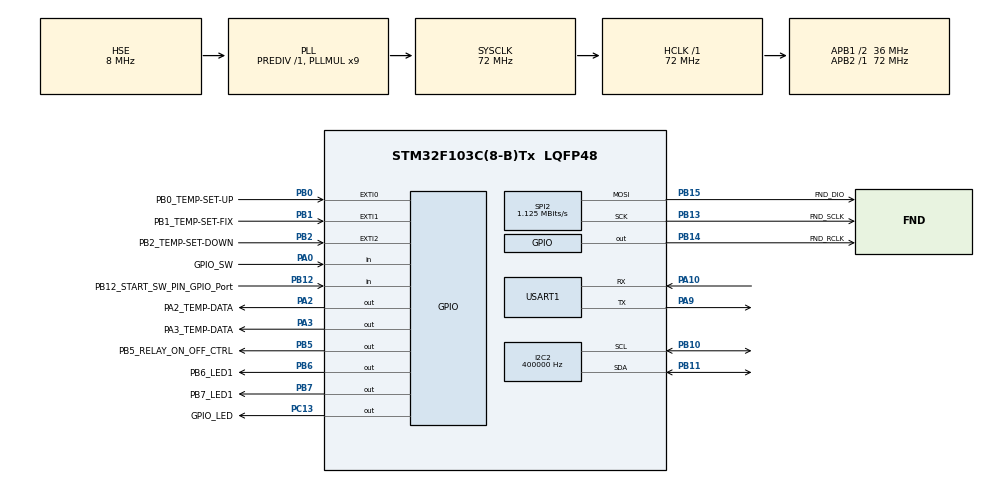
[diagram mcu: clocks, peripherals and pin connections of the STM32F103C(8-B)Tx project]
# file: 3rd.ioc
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I2C2.ClockSpeed=400000
I2C2.GeneralCallMode=I2C_GENERALCALL_DISABLE
I2C2.I2C_Mode=I2C_Fast
I2C2.OwnAddress=0
Mcu.Family=STM32F1
Mcu.Name=STM32F103C(8-B)Tx
Mcu.Package=LQFP48
NVIC.EXTI0_IRQn=true\:9\:0\:true\:false\:true\:true\:true\:true
NVIC.EXTI1_IRQn=true\:9\:0\:true\:false\:true\:true\:true\:true
NVIC.EXTI2_IRQn=true\:9\:0\:true\:false\:true\:true\:true\:true
NVIC.PriorityGroup=NVIC_PRIORITYGROUP_4
NVIC.TIM2_IRQn=true\:0\:0\:false\:false\:true\:true\:true\:true
NVIC.TIM3_IRQn=true\:10\:0\:true\:false\:true\:true\:true\:true
PA0-WKUP.GPIO_Label=GPIO_SW
PA0-WKUP.GPIO_PuPd=GPIO_PULLUP
PA0-WKUP.Signal=GPIO_Input
PA10.GPIO_Mode=GPIO_MODE_INPUT
PA10.Mode=Asynchronous
PA10.Signal=USART1_RX
PA13.Mode=Serial_Wire
PA13.Signal=SYS_JTMS-SWDIO
PA14.Mode=Serial_Wire
PA14.Signal=SYS_JTCK-SWCLK
PA2.GPIO_Label=PA2_TEMP-DATA
PA2.GPIO_ModeDefaultOutputPP=GPIO_MODE_OUTPUT_PP
PA2.GPIO_PuPd=GPIO_PULLUP
PA2.GPIO_Speed=GPIO_SPEED_FREQ_HIGH
PA2.PinState=GPIO_PIN_SET
PA2.Signal=GPIO_Output
PA3.GPIO_Label=PA3_TEMP-DATA
PA3.GPIO_ModeDefaultOutputPP=GPIO_MODE_OUTPUT_PP
PA3.GPIO_PuPd=GPIO_PULLUP
PA3.GPIO_Speed=GPIO_SPEED_FREQ_HIGH
PA3.PinState=GPIO_PIN_SET
PA3.Signal=GPIO_Output
PA9.Mode=Asynchronous
PA9.Signal=USART1_TX
PB0.GPIO_Label=PB0_TEMP-SET-UP
PB0.GPIO_ModeDefaultEXTI=GPIO_MODE_IT_FALLING
PB0.GPIO_PuPd=GPIO_PULLUP
PB0.Signal=GPXTI0
PB1.GPIO_Label=PB1_TEMP-SET-FIX
PB1.GPIO_ModeDefaultEXTI=GPIO_MODE_IT_FALLING
PB1.GPIO_PuPd=GPIO_PULLUP
PB1.Signal=GPXTI1
PB10.Mode=I2C
PB10.Signal=I2C2_SCL
PB11.Mode=I2C
PB11.Signal=I2C2_SDA
PB12.GPIO_Label=PB12_START_SW_PIN_GPIO_Port
PB12.GPIO_PuPd=GPIO_PULLUP
PB12.Signal=GPIO_Input
PB13.GPIO_Label=FND_SCLK
PB13.Mode=TX_Only_Simplex_Unidirect_Master
PB13.Signal=SPI2_SCK
PB14.GPIO_Label=FND_RCLK
PB14.GPIO_PuPd=GPIO_PULLUP
PB14.GPIO_Speed=GPIO_SPEED_FREQ_HIGH
PB14.PinState=GPIO_PIN_SET
PB14.Signal=GPIO_Output
PB15.GPIO_Label=FND_DIO
PB15.Mode=TX_Only_Simplex_Unidirect_Master
PB15.Signal=SPI2_MOSI
PB2.GPIO_Label=PB2_TEMP-SET-DOWN
PB2.GPIO_ModeDefaultEXTI=GPIO_MODE_IT_FALLING
PB2.GPIO_PuPd=GPIO_PULLUP
PB2.Signal=GPXTI2
PB5.GPIO_Label=PB5_RELAY_ON_OFF_CTRL
PB5.GPIO_ModeDefaultOutputPP=GPIO_MODE_OUTPUT_PP
PB5.GPIO_PuPd=GPIO_PULLDOWN
PB5.GPIO_Speed=GPIO_SPEED_FREQ_HIGH
PB5.PinState=GPIO_PIN_RESET
PB5.Signal=GPIO_Output
PB6.GPIO_Label=PB6_LED1
PB6.GPIO_PuPd=GPIO_PULLUP
PB6.GPIO_Speed=GPIO_SPEED_FREQ_HIGH
PB6.PinState=GPIO_PIN_SET
PB6.Signal=GPIO_Output
PB7.GPIO_Label=PB7_LED1
PB7.GPIO_ModeDefaultOutputPP=GPIO_MODE_OUTPUT_PP
PB7.GPIO_PuPd=GPIO_PULLUP
PB7.GPIO_Speed=GPIO_SPEED_FREQ_HIGH
PB7.PinState=GPIO_PIN_SET
PB7.Signal=GPIO_Output
PC13-TAMPER-RTC.GPIO_Label=GPIO_LED
PC13-TAMPER-RTC.GPIO_PuPd=GPIO_PULLDOWN
PC13-TAMPER-RTC.GPIO_Speed=GPIO_SPEED_FREQ_HIGH
PC13-TAMPER-RTC.PinState=GPIO_PIN_SET
PC13-TAMPER-RTC.Signal=GPIO_Output
PC14-OSC32_IN.Mode=LSE-External-Oscillator
PC14-OSC32_IN.Signal=RCC_OSC32_IN
PC15-OSC32_OUT.Mode=LSE-External-Oscillator
PC15-OSC32_OUT.Signal=RCC_OSC32_OUT
PD0-OSC_IN.Mode=HSE-External-Oscillator
PD0-OSC_IN.Signal=RCC_OSC_IN
PD1-OSC_OUT.Mode=HSE-External-Oscillator
PD1-OSC_OUT.Signal=RCC_OSC_OUT
ProjectManager.HeapSize=0x200
ProjectManager.StackSize=0x400
ProjectManager.TargetToolchain=STM32CubeIDE
RCC.AHBFreq_Value=72000000
RCC.APB1CLKDivider=RCC_HCLK_DIV2
RCC.APB1Freq_Value=36000000
RCC.APB1TimFreq_Value=72000000
RCC.APB2Freq_Value=72000000
RCC.APB2TimFreq_Value=72000000
RCC.HCLKFreq_Value=72000000
RCC.PLLMUL=RCC_PLL_MUL9
RCC.PLLSourceVirtual=RCC_PLLSOURCE_HSE
RCC.SYSCLKFreq_VALUE=72000000
RCC.SYSCLKSource=RCC_SYSCLKSOURCE_PLLCLK
RCC.USBFreq_Value=72000000
SPI2.BaudRatePrescaler=SPI_BAUDRATEPRESCALER_32
SPI2.CLKPhase=SPI_PHASE_2EDGE
SPI2.CLKPolarity=SPI_POLARITY_HIGH
SPI2.CalculateBaudRate=1.125 MBits/s
SPI2.Direction=SPI_DIRECTION_2LINES
SPI2.Mode=SPI_MODE_MASTER
SPI2.VirtualType=VM_MASTER
TIM2.AutoReloadPreload=TIM_AUTORELOAD_PRELOAD_DISABLE
TIM2.Period=0xFFFF
TIM2.Prescaler=71
TIM3.Period=49
TIM3.Prescaler=71
USART1.VirtualMode=VM_ASYNC
VP_TIM2_VS_ClockSourceINT.Mode=Internal
VP_TIM3_VS_ClockSourceINT.Mode=Internal
board=custom

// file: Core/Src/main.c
/* USER CODE BEGIN Header */
/**
 ******************************************************************************
 * @file           : main.c
 * @brief          : Main program body
 ******************************************************************************
 * @attention
 *
 * Copyright (c) 2025 STMicroelectronics.
 * All rights reserved.
 *
 * This software is licensed under terms that can be found in the LICENSE file
 * in the root directory of this software component.
 * If no LICENSE file comes with this software, it is provided AS-IS.
 *
 ******************************************************************************
 */
/* USER CODE END Header */
#include "main.h"

/* USER CODE BEGIN Includes */
#include <stdio.h>
#include "fnd_controller.h"
#include "ds18b20.h"
#include "heaterController.h"
#include "fonts.h"
#include "ssd1306.h"
#include "test.h"
#include "bitmap.h"
#include "oledController.h"
#include "g_var.h"
#include "buttonController.h"
/* USER CODE END Includes */

/* USER CODE BEGIN PTD */
#include <stdio.h>

/* USER CODE END PTD */

I2C_HandleTypeDef hi2c2;

SPI_HandleTypeDef hspi2;

TIM_HandleTypeDef htim2;
TIM_HandleTypeDef htim3;

UART_HandleTypeDef huart1;

/* USER CODE BEGIN PV */
int _write(int file, char *p, int len) {
	HAL_UART_Transmit(&huart1, (uint8_t*) p, len, 10);
	return len;
}
/* USER CODE END PV */

void SystemClock_Config(void);
static void MX_GPIO_Init(void);
static void MX_USART1_UART_Init(void);
static void MX_TIM2_Init(void);
static void MX_TIM3_Init(void);
static void MX_I2C2_Init(void);
static void MX_SPI2_Init(void);

int main(void)
{

  /* USER CODE BEGIN 1 */
	float temper =0.0;
  /* USER CODE END 1 */

  /* MCU Configuration--------------------------------------------------------*/

  /* Reset of all peripherals, Initializes the Flash interface and the Systick. */
  HAL_Init();

  /* Configure the system clock */
  SystemClock_Config();

  /* Initialize all configured peripherals */
  MX_GPIO_Init();
  MX_USART1_UART_Init();
  MX_TIM2_Init();
  MX_TIM3_Init();
  MX_I2C2_Init();
  MX_SPI2_Init();
  /* USER CODE BEGIN 2 */
	SSD1306_Init();
	opening();

	init_fnd(&hspi2);

	HAL_TIM_Base_Start_IT(&htim3);

	Ds18b20_Init_Simple();
  /* USER CODE END 2 */

  /* Infinite loop */
  /* USER CODE BEGIN WHILE */

	static int m_count = 0;
	static int m_first = 0;

	while (1)
	  {

		checkButton();		// 버튼 상태 반영위해 호출

		  if((m_count > 100) || !m_first){	// 첫 실행이라면
			  if(!isConverting()){		// 변환을 안했으면 시작
					  StartConverting();
				  }

				  checkConverting();

				  if(!isConverting()){
					  temper = getTemper();	// 온도 읽어와서 temper에 저장
					  if(getSwState() == ON_t){		// 전원 스위치가 켜져 있으면
						  heaterControl(temper);
					  }else{	// 전원이 꺼져있으면
						  if(getHeaterState() == ON_t){	// 히터가 켜져있어도 끔
							  heaterOnOff(OFF_t);
						  }
					  }
					  m_count = 0;
					  m_first = 1;
				  }
		  }

		  m_count++;
		  HAL_Delay(10);

    /* USER CODE END WHILE */

	  }
}

void SystemClock_Config(void)
{
  RCC_OscInitTypeDef RCC_OscInitStruct = {0};
  RCC_ClkInitTypeDef RCC_ClkInitStruct = {0};

  /** Initializes the RCC Oscillators according to the specified parameters
  * in the RCC_OscInitTypeDef structure.
  */
  RCC_OscInitStruct.OscillatorType = RCC_OSCILLATORTYPE_HSE;
  RCC_OscInitStruct.HSEState = RCC_HSE_ON;
  RCC_OscInitStruct.HSEPredivValue = RCC_HSE_PREDIV_DIV1;
  RCC_OscInitStruct.HSIState = RCC_HSI_ON;
  RCC_OscInitStruct.PLL.PLLState = RCC_PLL_ON;
  RCC_OscInitStruct.PLL.PLLSource = RCC_PLLSOURCE_HSE;
  RCC_OscInitStruct.PLL.PLLMUL = RCC_PLL_MUL9;
  if (HAL_RCC_OscConfig(&RCC_OscInitStruct) != HAL_OK)
  {
    Error_Handler();
  }

  /** Initializes the CPU, AHB and APB buses clocks
  */
  RCC_ClkInitStruct.ClockType = RCC_CLOCKTYPE_HCLK|RCC_CLOCKTYPE_SYSCLK
                              |RCC_CLOCKTYPE_PCLK1|RCC_CLOCKTYPE_PCLK2;
  RCC_ClkInitStruct.SYSCLKSource = RCC_SYSCLKSOURCE_PLLCLK;
  RCC_ClkInitStruct.AHBCLKDivider = RCC_SYSCLK_DIV1;
  RCC_ClkInitStruct.APB1CLKDivider = RCC_HCLK_DIV2;
  RCC_ClkInitStruct.APB2CLKDivider = RCC_HCLK_DIV1;

  if (HAL_RCC_ClockConfig(&RCC_ClkInitStruct, FLASH_LATENCY_2) != HAL_OK)
  {
    Error_Handler();
  }
}

static void MX_I2C2_Init(void)
{

  hi2c2.Instance = I2C2;
  hi2c2.Init.ClockSpeed = 400000;
  hi2c2.Init.DutyCycle = I2C_DUTYCYCLE_2;
  hi2c2.Init.OwnAddress1 = 0;
  hi2c2.Init.AddressingMode = I2C_ADDRESSINGMODE_7BIT;
  hi2c2.Init.DualAddressMode = I2C_DUALADDRESS_DISABLE;
  hi2c2.Init.OwnAddress2 = 0;
  hi2c2.Init.GeneralCallMode = I2C_GENERALCALL_DISABLE;
  hi2c2.Init.NoStretchMode = I2C_NOSTRETCH_DISABLE;
  if (HAL_I2C_Init(&hi2c2) != HAL_OK)
  {
    Error_Handler();
  }

}

static void MX_SPI2_Init(void)
{

  /* SPI2 parameter configuration*/
  hspi2.Instance = SPI2;
  hspi2.Init.Mode = SPI_MODE_MASTER;
  hspi2.Init.Direction = SPI_DIRECTION_2LINES;
  hspi2.Init.DataSize = SPI_DATASIZE_8BIT;
  hspi2.Init.CLKPolarity = SPI_POLARITY_HIGH;
  hspi2.Init.CLKPhase = SPI_PHASE_2EDGE;
  hspi2.Init.NSS = SPI_NSS_SOFT;
  hspi2.Init.BaudRatePrescaler = SPI_BAUDRATEPRESCALER_32;
  hspi2.Init.FirstBit = SPI_FIRSTBIT_MSB;
  hspi2.Init.TIMode = SPI_TIMODE_DISABLE;
  hspi2.Init.CRCCalculation = SPI_CRCCALCULATION_DISABLE;
  hspi2.Init.CRCPolynomial = 10;
  if (HAL_SPI_Init(&hspi2) != HAL_OK)
  {
    Error_Handler();
  }

}

static void MX_TIM2_Init(void)
{

  TIM_ClockConfigTypeDef sClockSourceConfig = {0};
  TIM_MasterConfigTypeDef sMasterConfig = {0};

  htim2.Instance = TIM2;
  htim2.Init.Prescaler = 71;
  htim2.Init.CounterMode = TIM_COUNTERMODE_UP;
  htim2.Init.Period = 0xFFFF;
  htim2.Init.ClockDivision = TIM_CLOCKDIVISION_DIV1;
  htim2.Init.AutoReloadPreload = TIM_AUTORELOAD_PRELOAD_DISABLE;
  if (HAL_TIM_Base_Init(&htim2) != HAL_OK)
  {
    Error_Handler();
  }
  sClockSourceConfig.ClockSource = TIM_CLOCKSOURCE_INTERNAL;
  if (HAL_TIM_ConfigClockSource(&htim2, &sClockSourceConfig) != HAL_OK)
  {
    Error_Handler();
  }
  sMasterConfig.MasterOutputTrigger = TIM_TRGO_RESET;
  sMasterConfig.MasterSlaveMode = TIM_MASTERSLAVEMODE_DISABLE;
  if (HAL_TIMEx_MasterConfigSynchronization(&htim2, &sMasterConfig) != HAL_OK)
  {
    Error_Handler();
  }

}

static void MX_TIM3_Init(void)
{

  TIM_ClockConfigTypeDef sClockSourceConfig = {0};
  TIM_MasterConfigTypeDef sMasterConfig = {0};

  htim3.Instance = TIM3;
  htim3.Init.Prescaler = 71;
  htim3.Init.CounterMode = TIM_COUNTERMODE_UP;
  htim3.Init.Period = 49;
  htim3.Init.ClockDivision = TIM_CLOCKDIVISION_DIV1;
  htim3.Init.AutoReloadPreload = TIM_AUTORELOAD_PRELOAD_DISABLE;
  if (HAL_TIM_Base_Init(&htim3) != HAL_OK)
  {
    Error_Handler();
  }
  sClockSourceConfig.ClockSource = TIM_CLOCKSOURCE_INTERNAL;
  if (HAL_TIM_ConfigClockSource(&htim3, &sClockSourceConfig) != HAL_OK)
  {
    Error_Handler();
  }
  sMasterConfig.MasterOutputTrigger = TIM_TRGO_RESET;
  sMasterConfig.MasterSlaveMode = TIM_MASTERSLAVEMODE_DISABLE;
  if (HAL_TIMEx_MasterConfigSynchronization(&htim3, &sMasterConfig) != HAL_OK)
  {
    Error_Handler();
  }

}

static void MX_USART1_UART_Init(void)
{

  huart1.Instance = USART1;
  huart1.Init.BaudRate = 115200;
  huart1.Init.WordLength = UART_WORDLENGTH_8B;
  huart1.Init.StopBits = UART_STOPBITS_1;
  huart1.Init.Parity = UART_PARITY_NONE;
  huart1.Init.Mode = UART_MODE_TX_RX;
  huart1.Init.HwFlowCtl = UART_HWCONTROL_NONE;
  huart1.Init.OverSampling = UART_OVERSAMPLING_16;
  if (HAL_UART_Init(&huart1) != HAL_OK)
  {
    Error_Handler();
  }

}

static void MX_GPIO_Init(void)
{
  GPIO_InitTypeDef GPIO_InitStruct = {0};
/* USER CODE BEGIN MX_GPIO_Init_1 */

//	  GPIO_InitTypeDef GPIO_InitStruct = {0};
/* USER CODE END MX_GPIO_Init_1 */

  /* GPIO Ports Clock Enable */
  __HAL_RCC_GPIOC_CLK_ENABLE();
  __HAL_RCC_GPIOD_CLK_ENABLE();
  __HAL_RCC_GPIOA_CLK_ENABLE();
  __HAL_RCC_GPIOB_CLK_ENABLE();

  /*Configure GPIO pin Output Level */
  HAL_GPIO_WritePin(GPIO_LED_GPIO_Port, GPIO_LED_Pin, GPIO_PIN_SET);

  /*Configure GPIO pin Output Level */
  HAL_GPIO_WritePin(GPIOA, PA2_TEMP_DATA_Pin|PA3_TEMP_DATA_Pin, GPIO_PIN_SET);

  /*Configure GPIO pin Output Level */
  HAL_GPIO_WritePin(GPIOB, FND_RCLK_Pin|PB6_LED1_Pin, GPIO_PIN_SET);
  HAL_GPIO_WritePin(GPIOB, PB7_LED1_Pin, GPIO_PIN_RESET);

  /*Configure GPIO pin Output Level */
  HAL_GPIO_WritePin(PB5_RELAY_ON_OFF_CTRL_GPIO_Port, PB5_RELAY_ON_OFF_CTRL_Pin, GPIO_PIN_RESET);

  /*Configure GPIO pin : GPIO_LED_Pin */
  GPIO_InitStruct.Pin = GPIO_LED_Pin;
  GPIO_InitStruct.Mode = GPIO_MODE_OUTPUT_PP;
  GPIO_InitStruct.Pull = GPIO_PULLDOWN;
  GPIO_InitStruct.Speed = GPIO_SPEED_FREQ_HIGH;
  HAL_GPIO_Init(GPIO_LED_GPIO_Port, &GPIO_InitStruct);

  /*Configure GPIO pin : GPIO_SW_Pin */
  GPIO_InitStruct.Pin = GPIO_SW_Pin;
  GPIO_InitStruct.Mode = GPIO_MODE_INPUT;
  GPIO_InitStruct.Pull = GPIO_PULLUP;
  HAL_GPIO_Init(GPIO_SW_GPIO_Port, &GPIO_InitStruct);

  /*Configure GPIO pins : PA2_TEMP_DATA_Pin PA3_TEMP_DATA_Pin */
  GPIO_InitStruct.Pin = PA2_TEMP_DATA_Pin|PA3_TEMP_DATA_Pin;
  GPIO_InitStruct.Mode = GPIO_MODE_OUTPUT_PP;
  GPIO_InitStruct.Pull = GPIO_PULLUP;
  GPIO_InitStruct.Speed = GPIO_SPEED_FREQ_HIGH;
  HAL_GPIO_Init(GPIOA, &GPIO_InitStruct);

  /*Configure GPIO pins : PB0_TEMP_SET_UP_Pin PB1_TEMP_SET_FIX_Pin PB2_TEMP_SET_DOWN_Pin */
  GPIO_InitStruct.Pin = PB0_TEMP_SET_UP_Pin|PB1_TEMP_SET_FIX_Pin|PB2_TEMP_SET_DOWN_Pin;
  GPIO_InitStruct.Mode = GPIO_MODE_IT_FALLING;
  GPIO_InitStruct.Pull = GPIO_PULLUP;
  HAL_GPIO_Init(GPIOB, &GPIO_InitStruct);

  /*Configure GPIO pin : PB12_START_SW_PIN_GPIO_Port_Pin */
  GPIO_InitStruct.Pin = PB12_START_SW_PIN_GPIO_Port_Pin;
  GPIO_InitStruct.Mode = GPIO_MODE_INPUT;
  GPIO_InitStruct.Pull = GPIO_PULLUP;
  HAL_GPIO_Init(PB12_START_SW_PIN_GPIO_Port_GPIO_Port, &GPIO_InitStruct);

  /*Configure GPIO pins : FND_RCLK_Pin PB6_LED1_Pin PB7_LED1_Pin */
  GPIO_InitStruct.Pin = FND_RCLK_Pin|PB6_LED1_Pin|PB7_LED1_Pin;
  GPIO_InitStruct.Mode = GPIO_MODE_OUTPUT_PP;
  GPIO_InitStruct.Pull = GPIO_PULLUP;
  GPIO_InitStruct.Speed = GPIO_SPEED_FREQ_HIGH;
  HAL_GPIO_Init(GPIOB, &GPIO_InitStruct);

  /*Configure GPIO pin : PB5_RELAY_ON_OFF_CTRL_Pin */
  GPIO_InitStruct.Pin = PB5_RELAY_ON_OFF_CTRL_Pin;
  GPIO_InitStruct.Mode = GPIO_MODE_OUTPUT_PP;
  GPIO_InitStruct.Pull = GPIO_PULLDOWN;
  GPIO_InitStruct.Speed = GPIO_SPEED_FREQ_HIGH;
  HAL_GPIO_Init(PB5_RELAY_ON_OFF_CTRL_GPIO_Port, &GPIO_InitStruct);

  /* EXTI interrupt init*/
  HAL_NVIC_SetPriority(EXTI0_IRQn, 9, 0);
  HAL_NVIC_EnableIRQ(EXTI0_IRQn);

  HAL_NVIC_SetPriority(EXTI1_IRQn, 9, 0);
  HAL_NVIC_EnableIRQ(EXTI1_IRQn);

  HAL_NVIC_SetPriority(EXTI2_IRQn, 9, 0);
  HAL_NVIC_EnableIRQ(EXTI2_IRQn);

}

void Error_Handler(void)
{
	__disable_irq();
	while (1) {
	}
}
